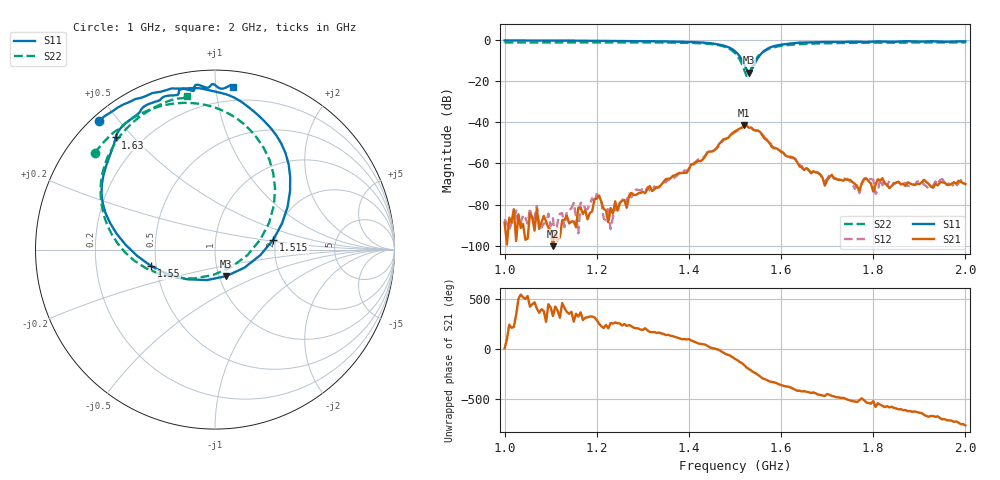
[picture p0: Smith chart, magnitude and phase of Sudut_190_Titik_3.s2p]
# Hz S RI R 50
! CMT, C1220, 16058040, 17.2.0/1
! Date: 14/08/2018 12:39:17
! Data: Format (Calibration Info)
! Freq  S11: Re/Im (F2)  S21: Re/Im (F2)  S12: Re/Im (F2)  S22: Re/Im (F2)
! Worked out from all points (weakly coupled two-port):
!   201 points, 1 GHz to 2 GHz, reference 50 ohm
!   highest |S21| = -41.40 dB at 1.52 GHz (marker M1); lowest = -100.2 dB at 1.105 GHz (marker M2)
!   lowest |S11| = -15.9 dB at 1.53 GHz (marker M3), VSWR 1.38, Z = 54.2 - j16.4 ohm
!   |S11| at or under -10 dB: 1.516 GHz to 1.547 GHz (30.85 MHz wide, 2.01 % of centre)
!   |S22| runs from -17.5 to -1.2 dB; largest |S21 - S12| = 0.00037
!   S11 on the Smith chart (normalised r, x): 1 GHz: 0.02, +0.44; 1.515 GHz: 1.94, +0.23; 1.55 GHz: 0.47, -0.10; 1.63 GHz: 0.11, +0.45; 2 GHz: 0.10, +1.11
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1e9  -0.648 0.7143  3.68e-05 3.45e-06  4.4e-05 -8.73e-06  -0.6705 0.5399
1.105e9  -0.55 0.7864  8.49e-06 -4.8e-06  4.63e-05 2.42e-06  -0.6082 0.6117
1.17e9  -0.4756 0.8237  2.07e-05 -5.54e-05  8.19e-05 -7.01e-05  -0.5586 0.6575
1.265e9  -0.339 0.8738  -5.23e-05 -6.51e-05  -6.48e-05 -0.000106  -0.4741 0.7222
1.335e9  -0.2148 0.8969  -0.000252 6.88e-05  -0.00025 0.000116  -0.374 0.7749
1.45e9  0.1853 0.7949  0.00191 0.000323  0.00197 0.000195  0.0172 0.7849
1.5e9  0.4183 0.3272  -0.000986 -0.00597  -0.000901 -0.00561  0.3347 0.3408
1.515e9  0.3228 0.0523  -0.00569 -0.00466  -0.00563 -0.00485  0.251 0.0537
1.52e9  0.2522 -0.031  -0.00804 -0.0028  -0.00811 -0.003  0.1805 -0.0311
1.53e9  0.0632 -0.1478  -0.00688 0.00259  -0.00693 0.00254  -0.00996 -0.1414
1.55e9  -0.356 -0.092  -0.00112 0.00615  -0.00137 0.00604  -0.3849 -0.1037
1.63e9  -0.5536 0.6247  0.000884 -0.000956  0.000961 -0.000882  -0.6158 0.4657
1.67e9  -0.4369 0.7499  0.000161 -0.000626  0.000177 -0.000636  -0.5631 0.5829
1.695e9  -0.405 0.7887  -9.94e-05 -0.000271  -7.2e-05 -0.000357  -0.5306 0.6306
1.71e9  -0.3651 0.8127  -0.000186 -0.000494  -0.000239 -0.000398  -0.5103 0.6562
1.77e9  -0.2354 0.8593  -0.000193 -9.84e-05  -0.000156 -0.000106  -0.4348 0.7283
1.785e9  -0.2056 0.8638  -0.000431 -3.42e-05  -0.000452 -5.41e-05  -0.4158 0.7423
1.8e9  -0.2005 0.883  -0.000196 -6.41e-05  -0.000384 0.000118  -0.3975 0.7553
1.805e9  -0.1971 0.8893  -0.000231 0.000197  -0.000171 5.99e-05  -0.3917 0.7599
1.815e9  -0.1809 0.8953  -0.000363 0.000113  -0.000412 -5.61e-05  -0.3798 0.7676
1.835e9  -0.129 0.8851  -0.000177 0.000177  -0.000204 0.00032  -0.3565 0.7818
2e9  0.103 0.9078  0.000219 -0.000227  0.000249 -0.000242  -0.1564 0.8542
